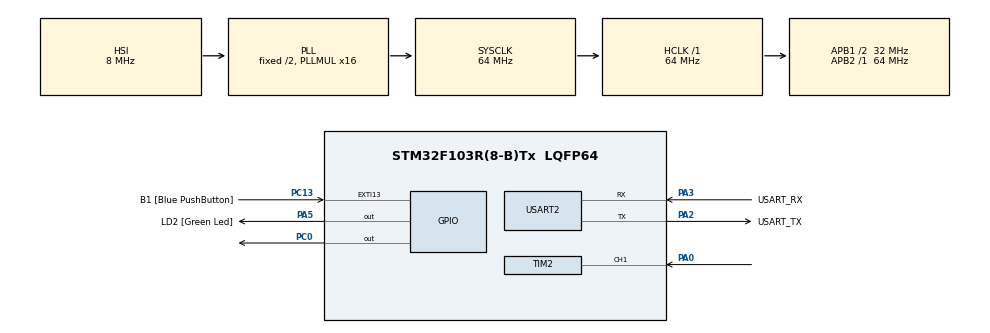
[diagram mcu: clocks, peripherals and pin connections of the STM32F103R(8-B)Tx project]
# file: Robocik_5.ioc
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Mcu.Family=STM32F1
Mcu.Name=STM32F103R(8-B)Tx
Mcu.Package=LQFP64
NVIC.EXTI15_10_IRQn=true\:0\:0\:false\:false\:true\:true\:true
NVIC.PriorityGroup=NVIC_PRIORITYGROUP_4
NVIC.TIM2_IRQn=true\:0\:0\:false\:true\:true\:1\:true\:true
PA0-WKUP.GPIO_PuPd=GPIO_PULLUP
PA0-WKUP.Signal=S_TIM2_CH1_ETR
PA13.GPIO_Label=TMS
PA13.Mode=Serial_Wire
PA13.Signal=SYS_JTMS-SWDIO
PA14.GPIO_Label=TCK
PA14.Mode=Serial_Wire
PA14.Signal=SYS_JTCK-SWCLK
PA2.GPIO_Label=USART_TX
PA2.GPIO_Mode=GPIO_MODE_AF_PP
PA2.GPIO_PuPd=GPIO_NOPULL
PA2.GPIO_Speed=GPIO_SPEED_FREQ_LOW
PA2.Mode=Asynchronous
PA2.Signal=USART2_TX
PA3.GPIO_Label=USART_RX
PA3.GPIO_Mode=GPIO_MODE_AF_PP
PA3.GPIO_PuPd=GPIO_NOPULL
PA3.GPIO_Speed=GPIO_SPEED_FREQ_LOW
PA3.Mode=Asynchronous
PA3.Signal=USART2_RX
PA5.GPIO_Label=LD2 [Green Led]
PA5.GPIO_ModeDefaultOutputPP=GPIO_MODE_OUTPUT_PP
PA5.GPIO_PuPd=GPIO_NOPULL
PA5.GPIO_Speed=GPIO_SPEED_FREQ_LOW
PA5.Signal=GPIO_Output
PB3.GPIO_Label=SWO
PB3.Signal=SYS_JTDO-TRACESWO
PC0.Signal=GPIO_Output
PC13-TAMPER-RTC.GPIO_Label=B1 [Blue PushButton]
PC13-TAMPER-RTC.GPIO_PuPd=GPIO_NOPULL
PC13-TAMPER-RTC.Signal=GPXTI13
PC14-OSC32_IN.Mode=LSE-External-Oscillator
PC14-OSC32_IN.Signal=RCC_OSC32_IN
PC15-OSC32_OUT.Mode=LSE-External-Oscillator
PC15-OSC32_OUT.Signal=RCC_OSC32_OUT
PD0-OSC_IN.Mode=HSE-External-Clock-Source
PD0-OSC_IN.Signal=RCC_OSC_IN
PD1-OSC_OUT.Mode=HSE-External-Clock-Source
PD1-OSC_OUT.Signal=RCC_OSC_OUT
ProjectManager.HeapSize=0x200
ProjectManager.StackSize=0x400
ProjectManager.TargetToolchain=STM32CubeIDE
RCC.AHBFreq_Value=64000000
RCC.APB1CLKDivider=RCC_HCLK_DIV2
RCC.APB1Freq_Value=32000000
RCC.APB1TimFreq_Value=64000000
RCC.APB2Freq_Value=64000000
RCC.APB2TimFreq_Value=64000000
RCC.HCLKFreq_Value=64000000
RCC.PLLMUL=RCC_PLL_MUL16
RCC.RTCClockSelection=RCC_RTCCLKSOURCE_LSE
RCC.SYSCLKFreq_VALUE=64000000
RCC.SYSCLKSource=RCC_SYSCLKSOURCE_PLLCLK
RCC.USBFreq_Value=64000000
SH.S_TIM2_CH1_ETR.0=TIM2_CH1,Input_Capture1_from_TI1
SH.S_TIM2_CH1_ETR.1=TIM2_CH1,Input_Capture2_from_TI1
TIM2.Channel-Input_Capture1_from_TI1=TIM_CHANNEL_1
TIM2.Channel-Input_Capture2_from_TI1=TIM_CHANNEL_2
TIM2.Channel-Output\ Compare3\ No\ Output=TIM_CHANNEL_3
TIM2.ICFilter_CH1=0xF
TIM2.ICPolarity_CH1=TIM_INPUTCHANNELPOLARITY_FALLING
TIM2.Period=65535
TIM2.Prescaler=975
TIM2.Pulse-Output\ Compare3\ No\ Output=65535/2
USART2.VirtualMode=VM_ASYNC
VP_TIM2_VS_ClockSourceINT.Mode=Internal
VP_TIM2_VS_no_output3.Mode=Output Compare3 No Output
board=NUCLEO-F103RB

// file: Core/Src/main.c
/* USER CODE BEGIN Header */
/**
  ******************************************************************************
  * @file           : main.c
  * @brief          : Main program body
  ******************************************************************************
  * @attention
  *
  * <h2><center>&copy; Copyright (c) 2020 STMicroelectronics.
  * All rights reserved.</center></h2>
  *
  * This software component is licensed by ST under BSD 3-Clause license,
  * the "License"; You may not use this file except in compliance with the
  * License. You may obtain a copy of the License at:
  *                        opensource.org/licenses/BSD-3-Clause
  *
  ******************************************************************************
  */
/* USER CODE END Header */
#include "main.h"
#include "tim.h"
#include "usart.h"
#include "gpio.h"

/* USER CODE BEGIN PV */
volatile uint16_t timerCounterPress;
volatile uint16_t timerCounterRelease;

uint8_t mode;

uint8_t timerFlag = 0;

volatile uint16_t deltaTime = 0;
/* USER CODE END PV */

void SystemClock_Config(void);
static void MX_NVIC_Init(void);
/* USER CODE BEGIN PFP */
void HAL_TIM_IC_CaptureCallback(TIM_HandleTypeDef *htim);

void HAL_TIM_OC_DelayElapsedCallback(TIM_HandleTypeDef *htim);
/* USER CODE END PFP */

int main(void)
{

  /* MCU Configuration--------------------------------------------------------*/

  /* Reset of all peripherals, Initializes the Flash interface and the Systick. */
  HAL_Init();

  /* Configure the system clock */
  SystemClock_Config();

  /* Initialize all configured peripherals */
  MX_GPIO_Init();
  MX_USART2_UART_Init();
  MX_TIM2_Init();

  /* Initialize interrupts */
  MX_NVIC_Init();
  /* USER CODE BEGIN 2 */
HAL_TIM_IC_Start_IT(&htim2, TIM_CHANNEL_1);
HAL_TIM_IC_Start_IT(&htim2, TIM_CHANNEL_2);

HAL_TIM_OC_Start_IT(&htim2, TIM_CHANNEL_3);
//__HAL_TIM_SET_COMPARE(&htim2,TIM_CHANNEL_3,2000);
  /* USER CODE END 2 */

  /* Infinite loop */
  while (1)
  {

  }
}

void SystemClock_Config(void)
{
  RCC_OscInitTypeDef RCC_OscInitStruct = {0};
  RCC_ClkInitTypeDef RCC_ClkInitStruct = {0};

  /** Initializes the RCC Oscillators according to the specified parameters
  * in the RCC_OscInitTypeDef structure.
  */
  RCC_OscInitStruct.OscillatorType = RCC_OSCILLATORTYPE_HSI;
  RCC_OscInitStruct.HSIState = RCC_HSI_ON;
  RCC_OscInitStruct.HSICalibrationValue = RCC_HSICALIBRATION_DEFAULT;
  RCC_OscInitStruct.PLL.PLLState = RCC_PLL_ON;
  RCC_OscInitStruct.PLL.PLLSource = RCC_PLLSOURCE_HSI_DIV2;
  RCC_OscInitStruct.PLL.PLLMUL = RCC_PLL_MUL16;
  if (HAL_RCC_OscConfig(&RCC_OscInitStruct) != HAL_OK)
  {
    Error_Handler();
  }
  /** Initializes the CPU, AHB and APB buses clocks
  */
  RCC_ClkInitStruct.ClockType = RCC_CLOCKTYPE_HCLK|RCC_CLOCKTYPE_SYSCLK
                              |RCC_CLOCKTYPE_PCLK1|RCC_CLOCKTYPE_PCLK2;
  RCC_ClkInitStruct.SYSCLKSource = RCC_SYSCLKSOURCE_PLLCLK;
  RCC_ClkInitStruct.AHBCLKDivider = RCC_SYSCLK_DIV1;
  RCC_ClkInitStruct.APB1CLKDivider = RCC_HCLK_DIV2;
  RCC_ClkInitStruct.APB2CLKDivider = RCC_HCLK_DIV1;

  if (HAL_RCC_ClockConfig(&RCC_ClkInitStruct, FLASH_LATENCY_2) != HAL_OK)
  {
    Error_Handler();
  }
}

/**
  * @brief NVIC Configuration.
  * @retval None
  */
static void MX_NVIC_Init(void)
{
  /* TIM2_IRQn interrupt configuration */
  HAL_NVIC_SetPriority(TIM2_IRQn, 0, 0);
  HAL_NVIC_EnableIRQ(TIM2_IRQn);
}

/* USER CODE BEGIN 4 */
void HAL_TIM_IC_CaptureCallback(TIM_HandleTypeDef *htim){

	if(htim-> Instance == TIM2){

		//button pushed
		if(htim -> Channel == HAL_TIM_ACTIVE_CHANNEL_1){

			timerCounterPress = __HAL_TIM_GET_COMPARE(htim, TIM_CHANNEL_1);
			HAL_TIM_IC_Start_IT(htim, TIM_CHANNEL_1);

		}

		//button release
		if(htim -> Channel == HAL_TIM_ACTIVE_CHANNEL_2){

			timerCounterRelease = __HAL_TIM_GET_COMPARE(htim, TIM_CHANNEL_2);
			HAL_TIM_IC_Start_IT(htim, TIM_CHANNEL_2);

			deltaTime = (uint16_t)((uint16_t)timerCounterRelease - (uint16_t)timerCounterPress);

			//assuming that delta works
			if(deltaTime > 20000 && deltaTime<65535){
				mode ++;
				if (mode == 3){
					mode = 0;
				}

				switch(mode){
					case 0:{

						HAL_TIM_OC_Start_IT(&htim2, TIM_CHANNEL_3);

						break;
					}

					case 1:{
						HAL_TIM_OC_Stop_IT(&htim2, TIM_CHANNEL_3);
						HAL_GPIO_WritePin(GPIOA, GPIO_PIN_5, GPIO_PIN_SET);
						break;
					}

					case 2:{
						HAL_TIM_OC_Stop_IT(&htim2, TIM_CHANNEL_3);
						HAL_GPIO_WritePin(GPIOA, GPIO_PIN_5, GPIO_PIN_RESET);
						break;
					}
					default:
						break;

				}

			}

		}

	}

}

void HAL_TIM_OC_DelayElapsedCallback(TIM_HandleTypeDef *htim){

	if (htim -> Instance == TIM2){
		if (htim -> Channel == HAL_TIM_ACTIVE_CHANNEL_3){

			HAL_GPIO_TogglePin(GPIOA, GPIO_PIN_5);

		}
	}

}

/* USER CODE END 4 */

void Error_Handler(void)
{
}

/************************ (C) COPYRIGHT STMicroelectronics *****END OF FILE****/
